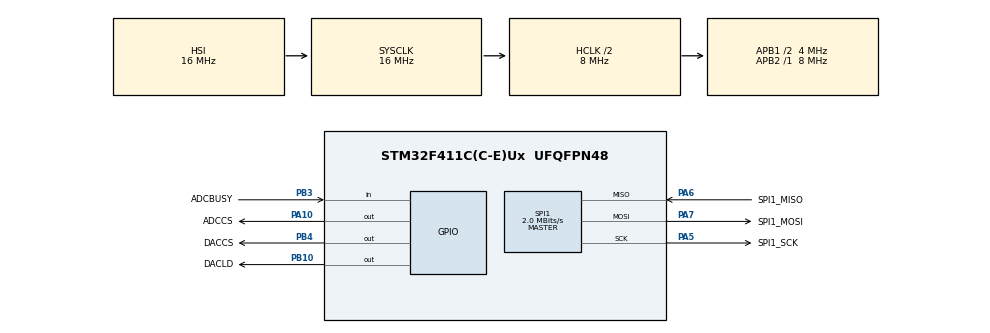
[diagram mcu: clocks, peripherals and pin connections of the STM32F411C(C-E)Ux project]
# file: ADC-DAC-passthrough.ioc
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Mcu.Family=STM32F4
Mcu.Name=STM32F411C(C-E)Ux
Mcu.Package=UFQFPN48
NVIC.PriorityGroup=NVIC_PRIORITYGROUP_4
PA10.GPIO_Label=ADCCS
PA10.GPIO_Speed=GPIO_SPEED_FREQ_MEDIUM
PA10.PinState=GPIO_PIN_SET
PA10.Signal=GPIO_Output
PA5.GPIO_Label=SPI1_SCK
PA5.GPIO_Speed=GPIO_SPEED_FREQ_HIGH
PA5.Mode=Full_Duplex_Master
PA5.Signal=SPI1_SCK
PA6.GPIO_Label=SPI1_MISO
PA6.GPIO_Speed=GPIO_SPEED_FREQ_HIGH
PA6.Mode=Full_Duplex_Master
PA6.Signal=SPI1_MISO
PA7.GPIO_Label=SPI1_MOSI
PA7.GPIO_Speed=GPIO_SPEED_FREQ_HIGH
PA7.Mode=Full_Duplex_Master
PA7.Signal=SPI1_MOSI
PB10.GPIO_Label=DACLD
PB10.PinState=GPIO_PIN_SET
PB10.Signal=GPIO_Output
PB3.GPIO_Label=ADCBUSY
PB3.Signal=GPIO_Input
PB4.GPIO_Label=DACCS
PB4.GPIO_Speed=GPIO_SPEED_FREQ_MEDIUM
PB4.PinState=GPIO_PIN_SET
PB4.Signal=GPIO_Output
ProjectManager.HeapSize=0x200
ProjectManager.StackSize=0x400
ProjectManager.TargetToolchain=STM32CubeIDE
RCC.48MHZClocksFreq_Value=32000000
RCC.AHBCLKDivider=RCC_SYSCLK_DIV2
RCC.AHBFreq_Value=8000000
RCC.APB1CLKDivider=RCC_HCLK_DIV2
RCC.APB1Freq_Value=4000000
RCC.APB1TimFreq_Value=8000000
RCC.APB2Freq_Value=8000000
RCC.APB2TimFreq_Value=8000000
RCC.CortexFreq_Value=8000000
RCC.HCLKFreq_Value=8000000
RCC.HSE_VALUE=25000000
RCC.HSI_VALUE=16000000
RCC.LSE_VALUE=32768
RCC.PLLM=8
RCC.PLLN=64
RCC.SYSCLKFreq_VALUE=16000000
RCC.VCOOutputFreq_Value=128000000
SPI1.BaudRatePrescaler=SPI_BAUDRATEPRESCALER_4
SPI1.CLKPhase=SPI_PHASE_1EDGE
SPI1.CLKPolarity=SPI_POLARITY_LOW
SPI1.CalculateBaudRate=2.0 MBits/s
SPI1.DataSize=SPI_DATASIZE_8BIT
SPI1.Direction=SPI_DIRECTION_2LINES
SPI1.Mode=SPI_MODE_MASTER
SPI1.VirtualType=VM_MASTER
board=custom

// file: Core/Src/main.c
/* USER CODE BEGIN Header */
/**
  ******************************************************************************
  * @file           : main.c
  * @brief          : Main program body
  ******************************************************************************
  * @attention
  *
  * <h2><center>&copy; Copyright (c) 2022 STMicroelectronics.
  * All rights reserved.</center></h2>
  *
  * This software component is licensed by ST under BSD 3-Clause license,
  * the "License"; You may not use this file except in compliance with the
  * License. You may obtain a copy of the License at:
  *                        opensource.org/licenses/BSD-3-Clause
  *
  ******************************************************************************
  */
/* USER CODE END Header */
#include "main.h"

SPI_HandleTypeDef hspi1;

void SystemClock_Config(void);
static void MX_GPIO_Init(void);
static void MX_SPI1_Init(void);

/* USER CODE BEGIN 0 */
unsigned char request[3] = {0x00,0x00,0x96};
unsigned char response[3];
unsigned short result;
unsigned char dac[3] = {0x10,0x00,0x00};

/* USER CODE END 0 */

int main(void)
{
  /* USER CODE BEGIN 1 */

 unsigned char extClock = 0x97;
 unsigned char intClock = 0x96;

  /* USER CODE END 1 */

  /* MCU Configuration--------------------------------------------------------*/

  /* Reset of all peripherals, Initializes the Flash interface and the Systick. */
  HAL_Init();

  /* Configure the system clock */
  SystemClock_Config();

  /* Initialize all configured peripherals */
  MX_GPIO_Init();
  MX_SPI1_Init();
  /* USER CODE BEGIN 2 */
  HAL_GPIO_WritePin(ADCCS_GPIO_Port, ADCCS_Pin, GPIO_PIN_SET);
  HAL_GPIO_WritePin(DACCS_GPIO_Port, DACCS_Pin, GPIO_PIN_SET);
  HAL_GPIO_WritePin(DACLD_GPIO_Port, DACLD_Pin, GPIO_PIN_RESET);

  HAL_GPIO_WritePin(ADCCS_GPIO_Port, ADCCS_Pin, GPIO_PIN_RESET);
  //HAL_SPI_TransmitReceive(&hspi1,&request[0],&response[0],1, 100);
  //HAL_GPIO_WritePin(ADCCS_GPIO_Port, ADCCS_Pin, GPIO_PIN_SET);

  //internalClock();

  /* USER CODE END 2 */

  /* Infinite loop */
  while (1)
  {

    /* USER CODE BEGIN 3 */

	HAL_GPIO_WritePin(ADCCS_GPIO_Port, ADCCS_Pin, GPIO_PIN_RESET);
	HAL_SPI_TransmitReceive(&hspi1,request,response,3, 100);
	HAL_GPIO_WritePin(ADCCS_GPIO_Port, ADCCS_Pin, GPIO_PIN_SET);

	response[0] <<= 1;
	if(response[1] & 0x80)
		response[0] |= 0x01;
  //
	response[1] <<= 1;
	if(response[2] & 0x80)
		response[1] |= 0x01;

	  result = (short)response[0] << 8;
	  result += response[1];
	  if((short)result < 0)
	  {
		result &= 0x7FFF;
	  }
	  else
	  {
		result |= 0x8000;
	  }

	 //continue;

	  dac[0] = 0x10;
	  dac[1] = result >> 8;
	  dac[2] = result & 0x00FF;

	  HAL_GPIO_WritePin(DACCS_GPIO_Port, DACCS_Pin, GPIO_PIN_RESET);

	  //HAL_GPIO_WritePin(DACLD_GPIO_Port, DACLD_Pin, GPIO_PIN_RESET);
	  HAL_SPI_Transmit(&hspi1,dac, 1, 100);
	  HAL_SPI_Transmit(&hspi1,dac + 1, 2, 100);
	  //HAL_GPIO_WritePin(DACLD_GPIO_Port, DACLD_Pin, GPIO_PIN_SET);
	  HAL_GPIO_WritePin(DACCS_GPIO_Port, DACCS_Pin, GPIO_PIN_SET);

	 // __HAL_SPI_DISABLE(&hspi1);
	 // CLEAR_BIT(hspi1.Instance->CR1,SPI_CR1_CPHA);
	 // __HAL_SPI_ENABLE(&hspi1);

  }
  /* USER CODE END 3 */
}

void SystemClock_Config(void)
{
  RCC_OscInitTypeDef RCC_OscInitStruct = {0};
  RCC_ClkInitTypeDef RCC_ClkInitStruct = {0};

  /** Configure the main internal regulator output voltage
  */
  __HAL_RCC_PWR_CLK_ENABLE();
  __HAL_PWR_VOLTAGESCALING_CONFIG(PWR_REGULATOR_VOLTAGE_SCALE1);
  /** Initializes the RCC Oscillators according to the specified parameters
  * in the RCC_OscInitTypeDef structure.
  */
  RCC_OscInitStruct.OscillatorType = RCC_OSCILLATORTYPE_HSI;
  RCC_OscInitStruct.HSIState = RCC_HSI_ON;
  RCC_OscInitStruct.HSICalibrationValue = RCC_HSICALIBRATION_DEFAULT;
  RCC_OscInitStruct.PLL.PLLState = RCC_PLL_NONE;
  if (HAL_RCC_OscConfig(&RCC_OscInitStruct) != HAL_OK)
  {
    Error_Handler();
  }
  /** Initializes the CPU, AHB and APB buses clocks
  */
  RCC_ClkInitStruct.ClockType = RCC_CLOCKTYPE_HCLK|RCC_CLOCKTYPE_SYSCLK
                              |RCC_CLOCKTYPE_PCLK1|RCC_CLOCKTYPE_PCLK2;
  RCC_ClkInitStruct.SYSCLKSource = RCC_SYSCLKSOURCE_HSI;
  RCC_ClkInitStruct.AHBCLKDivider = RCC_SYSCLK_DIV2;
  RCC_ClkInitStruct.APB1CLKDivider = RCC_HCLK_DIV2;
  RCC_ClkInitStruct.APB2CLKDivider = RCC_HCLK_DIV1;

  if (HAL_RCC_ClockConfig(&RCC_ClkInitStruct, FLASH_LATENCY_0) != HAL_OK)
  {
    Error_Handler();
  }
}

static void MX_SPI1_Init(void)
{

  /* SPI1 parameter configuration*/
  hspi1.Instance = SPI1;
  hspi1.Init.Mode = SPI_MODE_MASTER;
  hspi1.Init.Direction = SPI_DIRECTION_2LINES;
  hspi1.Init.DataSize = SPI_DATASIZE_8BIT;
  hspi1.Init.CLKPolarity = SPI_POLARITY_LOW;
  hspi1.Init.CLKPhase = SPI_PHASE_1EDGE;
  hspi1.Init.NSS = SPI_NSS_SOFT;
  hspi1.Init.BaudRatePrescaler = SPI_BAUDRATEPRESCALER_4;
  hspi1.Init.FirstBit = SPI_FIRSTBIT_MSB;
  hspi1.Init.TIMode = SPI_TIMODE_DISABLE;
  hspi1.Init.CRCCalculation = SPI_CRCCALCULATION_DISABLE;
  hspi1.Init.CRCPolynomial = 10;
  if (HAL_SPI_Init(&hspi1) != HAL_OK)
  {
    Error_Handler();
  }

}

static void MX_GPIO_Init(void)
{
  GPIO_InitTypeDef GPIO_InitStruct = {0};

  /* GPIO Ports Clock Enable */
  __HAL_RCC_GPIOA_CLK_ENABLE();
  __HAL_RCC_GPIOB_CLK_ENABLE();

  /*Configure GPIO pin Output Level */
  HAL_GPIO_WritePin(GPIOB, DACLD_Pin|DACCS_Pin, GPIO_PIN_SET);

  /*Configure GPIO pin Output Level */
  HAL_GPIO_WritePin(ADCCS_GPIO_Port, ADCCS_Pin, GPIO_PIN_SET);

  /*Configure GPIO pin : DACLD_Pin */
  GPIO_InitStruct.Pin = DACLD_Pin;
  GPIO_InitStruct.Mode = GPIO_MODE_OUTPUT_PP;
  GPIO_InitStruct.Pull = GPIO_NOPULL;
  GPIO_InitStruct.Speed = GPIO_SPEED_FREQ_LOW;
  HAL_GPIO_Init(DACLD_GPIO_Port, &GPIO_InitStruct);

  /*Configure GPIO pin : ADCCS_Pin */
  GPIO_InitStruct.Pin = ADCCS_Pin;
  GPIO_InitStruct.Mode = GPIO_MODE_OUTPUT_PP;
  GPIO_InitStruct.Pull = GPIO_NOPULL;
  GPIO_InitStruct.Speed = GPIO_SPEED_FREQ_MEDIUM;
  HAL_GPIO_Init(ADCCS_GPIO_Port, &GPIO_InitStruct);

  /*Configure GPIO pin : ADCBUSY_Pin */
  GPIO_InitStruct.Pin = ADCBUSY_Pin;
  GPIO_InitStruct.Mode = GPIO_MODE_INPUT;
  GPIO_InitStruct.Pull = GPIO_NOPULL;
  HAL_GPIO_Init(ADCBUSY_GPIO_Port, &GPIO_InitStruct);

  /*Configure GPIO pin : DACCS_Pin */
  GPIO_InitStruct.Pin = DACCS_Pin;
  GPIO_InitStruct.Mode = GPIO_MODE_OUTPUT_PP;
  GPIO_InitStruct.Pull = GPIO_NOPULL;
  GPIO_InitStruct.Speed = GPIO_SPEED_FREQ_MEDIUM;
  HAL_GPIO_Init(DACCS_GPIO_Port, &GPIO_InitStruct);

}

/* USER CODE BEGIN 4 */
void internalClock(){
	uint8_t intClock = 0x96;
	uint8_t adc[3] = {0,0,0};
	uint8_t dac[3];
	uint8_t samples[3];
	short result;

	while(1){
		  HAL_GPIO_WritePin(ADCCS_GPIO_Port, ADCCS_Pin, GPIO_PIN_RESET);
		  HAL_SPI_Transmit(&hspi1,&intClock,1, 100);
		  HAL_GPIO_WritePin(ADCCS_GPIO_Port, ADCCS_Pin, GPIO_PIN_SET);
		  //while(conversionComplete == 0)
			  //continue;
		  HAL_GPIO_WritePin(ADCCS_GPIO_Port, ADCCS_Pin, GPIO_PIN_RESET);
		  HAL_SPI_TransmitReceive(&hspi1,adc,samples, 3, 100);
		  HAL_GPIO_WritePin(ADCCS_GPIO_Port, ADCCS_Pin, GPIO_PIN_SET);

		  //conversionComplete = 0;
		  //continue;
		  samples[0] <<= 1;
		  samples[1] <<= 1;
		  if(samples[2] & 0x80)
		  	 samples[1] += 1;
		  result = (short)samples[0] << 8;
		 	  result += samples[1];
		 	  if((short)result < 0)
		 	  {
		 		result &= 0x7FFF;
		 	  }
		 	  else
		 	  {
		 		result |= 0x8000;
		 	  }

		 	  dac[0] = 0x10;
		 	  dac[1] = result >> 8;
		 	  dac[2] = result & 0x00FF;

		 	  HAL_GPIO_WritePin(DACCS_GPIO_Port, DACCS_Pin, GPIO_PIN_RESET);

		 	  //HAL_GPIO_WritePin(DACLD_GPIO_Port, DACLD_Pin, GPIO_PIN_RESET);
		 	  HAL_SPI_Transmit(&hspi1,dac, 1, 100);
		 	  HAL_SPI_Transmit(&hspi1,dac + 1, 2, 100);
		 	  //HAL_GPIO_WritePin(DACLD_GPIO_Port, DACLD_Pin, GPIO_PIN_SET);
		 	  HAL_GPIO_WritePin(DACCS_GPIO_Port, DACCS_Pin, GPIO_PIN_SET);
	  }
}
/* USER CODE END 4 */

void Error_Handler(void)
{
  __disable_irq();
  while (1)
  {
  }
}
